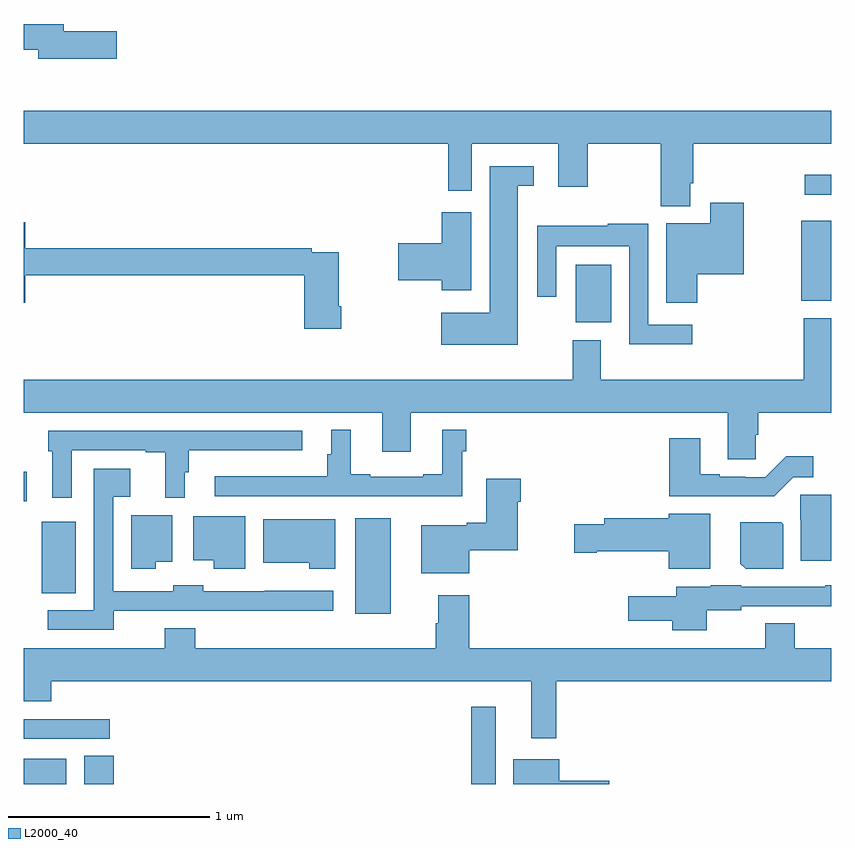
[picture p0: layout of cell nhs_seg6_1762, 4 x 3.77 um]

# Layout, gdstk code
import gdstk
lib = gdstk.Library(unit=1e-6, precision=1e-09)
def R(c, l, rs):  # rectangles x0, y0, x1, y1
    for r in rs: c.add(gdstk.rectangle(r[:2], r[2:], *l))
def P(c, l, *ps):  # polygons
    for p in ps: c.add(gdstk.Polygon(p, *l))
L2000_40 = (2000, 40)

nhs_seg6_1762 = lib.new_cell('nhs_seg6_1762')
R(nhs_seg6_1762, L2000_40, [(217,941.5,217.21,941.626), (217.298,941.5,217.445,941.639), (219.216,941.5,219.337,941.884), (217,941.724,217.426,941.82), (218.642,942.344,218.818,942.817), (217.088,942.445,217.258,942.799), (217,942.902,217.015,943.047), (219.734,943.787,219.91,944.074), (220.852,943.894,221,944.29), (220.869,944.42,221,944.518)])
P(nhs_seg6_1762, L2000_40, [(217.459,945.23),(217.198,945.23),(217.198,945.266),(217,945.266),(217,945.138),(217.07,945.138),(217.07,945.095),(217.459,945.095)],
  [(220.303,944.476),(220.316,944.476),(220.316,944.672),(221,944.672),(221,944.836),(217,944.836),(217,944.672),(219.102,944.672),(219.102,944.439),(219.22,944.439),(219.22,944.672),(219.647,944.672),(219.647,944.46),(219.795,944.46),(219.795,944.672),(220.156,944.672),(220.156,944.364),(220.303,944.364)],
  [(219.448,944.465),(219.526,944.465),(219.526,944.562),(219.308,944.562),(219.308,943.834),(219.068,943.834),(219.068,943.676),(219.448,943.676)],
  [(220.337,944.027),(220.566,944.027),(220.566,944.38),(220.4,944.38),(220.4,944.278),(220.184,944.278),(220.184,943.884),(220.337,943.884)],
  [(219.217,944.332),(219.071,944.332),(219.071,944.18),(218.856,944.18),(218.856,943.997),(219.071,943.997),(219.071,943.947),(219.217,943.947)],
  [(218.573,943.867),(218.56,943.867),(218.56,944.136),(218.426,944.136),(218.426,944.156),(217.007,944.156),(217.007,944.283),(217,944.283),(217,943.884),(217.007,943.884),(217.007,944.02),(218.39,944.02),(218.39,943.755),(218.573,943.755)],
  [(220.312,943.776),(220.095,943.776),(220.095,944.276),(219.892,944.276),(219.892,944.266),(219.543,944.266),(219.543,943.914),(219.639,943.914),(219.639,944.165),(219.999,944.165),(219.999,943.679),(220.312,943.679)],
  [(220.626,943.23),(220.64,943.23),(220.64,943.34),(221,943.34),(221,943.809),(220.865,943.809),(220.865,943.504),(219.859,943.504),(219.859,943.699),(219.719,943.699),(219.719,943.504),(217,943.504),(217,943.34),(218.777,943.34),(218.777,943.146),(218.917,943.146),(218.917,943.34),(220.487,943.34),(220.487,943.108),(220.626,943.108)],
  [(219.171,943.148),(219.191,943.148),(219.191,943.255),(219.074,943.255),(219.074,943.036),(218.978,943.036),(218.978,943.023),(218.716,943.023),(218.716,943.036),(218.62,943.036),(218.62,943.255),(218.522,943.255),(218.522,943.134),(218.503,943.134),(218.503,943.024),(217.947,943.024),(217.947,942.927),(218.914,942.927),(218.914,942.926),(219.171,942.926)],
  [(217.236,943.155),(217.604,943.155),(217.604,943.143),(217.7,943.143),(217.7,942.918),(217.798,942.918),(217.798,943.044),(217.817,943.044),(217.817,943.154),(218.38,943.154),(218.38,943.251),(217.12,943.251),(217.12,943.148),(217.14,943.148),(217.14,942.918),(217.236,942.918)],
  [(220.797,943.005),(220.812,943.02),(220.912,943.02),(220.912,943.123),(220.777,943.123),(220.674,943.02),(220.574,943.02),(220.574,943.023),(220.447,943.023),(220.447,943.036),(220.351,943.036),(220.351,943.213),(220.199,943.213),(220.199,942.926),(220.717,942.926)],
  [(217.446,942.359),(218.533,942.359),(218.533,942.457),(218.194,942.457),(218.194,942.456),(217.89,942.456),(217.89,942.484),(217.74,942.484),(217.74,942.456),(217.443,942.456),(217.443,942.923),(217.528,942.923),(217.528,943.063),(217.347,943.063),(217.347,942.36),(217.119,942.36),(217.119,942.264),(217.446,942.264)],
  [(219.208,942.659),(219.448,942.659),(219.448,942.899),(219.461,942.899),(219.461,943.012),(219.29,943.012),(219.29,942.794),(219.194,942.794),(219.194,942.781),(218.969,942.781),(218.969,942.545),(219.208,942.545)],
  [(221,942.933),(220.846,942.933),(220.846,942.81),(220.85,942.81),(220.85,942.606),(221,942.606)],
  [(220.402,942.838),(220.196,942.838),(220.196,942.818),(219.875,942.818),(219.875,942.788),(219.726,942.788),(219.726,942.646),(219.838,942.646),(219.838,942.653),(220.196,942.653),(220.196,942.566),(220.402,942.566)],
  [(217.654,942.602),(217.735,942.602),(217.735,942.832),(217.532,942.832),(217.532,942.566),(217.654,942.566)],
  [(218.098,942.826),(217.838,942.826),(217.838,942.608),(217.941,942.608),(217.941,942.566),(218.098,942.566)],
  [(218.542,942.811),(218.186,942.811),(218.186,942.596),(218.413,942.596),(218.413,942.566),(218.542,942.566)],
  [(220.762,942.788),(220.754,942.796),(220.55,942.796),(220.55,942.592),(220.576,942.566),(220.762,942.566)],
  [(220.384,942.362),(220.554,942.362),(220.554,942.381),(220.971,942.381),(220.971,942.38),(221,942.38),(221,942.484),(220.971,942.484),(220.971,942.477),(220.554,942.477),(220.554,942.484),(220.404,942.484),(220.404,942.478),(220.232,942.478),(220.232,942.43),(219.996,942.43),(219.996,942.308),(220.213,942.308),(220.213,942.263),(220.384,942.263)],
  [(219.637,942.008),(221,942.008),(221,942.172),(220.821,942.172),(220.821,942.296),(220.673,942.296),(220.673,942.172),(219.206,942.172),(219.206,942.436),(219.053,942.436),(219.053,942.296),(219.041,942.296),(219.041,942.172),(217.85,942.172),(217.85,942.271),(217.697,942.271),(217.697,942.172),(217,942.172),(217,941.909),(217.136,941.909),(217.136,942.008),(219.515,942.008),(219.515,941.727),(219.637,941.727)],
  [(219.901,941.517),(219.652,941.517),(219.652,941.623),(219.425,941.623),(219.425,941.5),(219.901,941.5)])

lib.write_gds('nhs_seg6_1762.gds')
